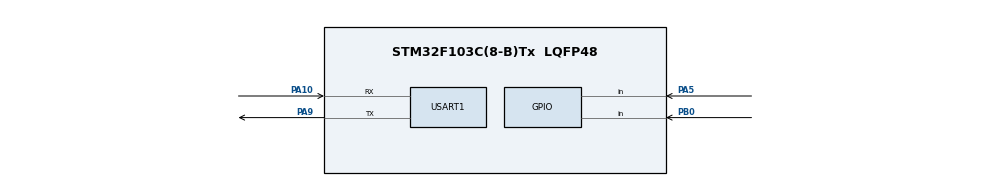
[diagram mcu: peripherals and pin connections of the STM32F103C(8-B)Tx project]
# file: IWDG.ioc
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IWDG.Prescaler=IWDG_PRESCALER_16
Mcu.Family=STM32F1
Mcu.Name=STM32F103C(8-B)Tx
Mcu.Package=LQFP48
NVIC.PriorityGroup=NVIC_PRIORITYGROUP_4
PA10.Mode=Asynchronous
PA10.Signal=USART1_RX
PA13.Mode=Serial_Wire
PA13.Signal=SYS_JTMS-SWDIO
PA14.Mode=Serial_Wire
PA14.Signal=SYS_JTCK-SWCLK
PA5.GPIO_Mode=GPIO_MODE_INPUT
PA5.GPIO_PuPd=GPIO_PULLUP
PA5.Signal=GPIO_Input
PA9.Mode=Asynchronous
PA9.Signal=USART1_TX
PB0.GPIO_Mode=GPIO_MODE_INPUT
PB0.GPIO_PuPd=GPIO_PULLUP
PB0.Signal=GPIO_Input
PD0-OSC_IN.Mode=HSE-External-Oscillator
PD0-OSC_IN.Signal=RCC_OSC_IN
PD1-OSC_OUT.Mode=HSE-External-Oscillator
PD1-OSC_OUT.Signal=RCC_OSC_OUT
ProjectManager.HeapSize=0x200
ProjectManager.StackSize=0x400
ProjectManager.TargetToolchain=MDK-ARM V5.27
RCC.AHBFreq_Value=16000000
RCC.APB1CLKDivider=RCC_HCLK_DIV2
RCC.APB1Freq_Value=8000000
RCC.APB1TimFreq_Value=16000000
RCC.APB2Freq_Value=16000000
RCC.APB2TimFreq_Value=16000000
RCC.HCLKFreq_Value=16000000
RCC.PLLSourceVirtual=RCC_PLLSOURCE_HSE
RCC.SYSCLKFreq_VALUE=16000000
RCC.SYSCLKSource=RCC_SYSCLKSOURCE_PLLCLK
RCC.USBFreq_Value=16000000
USART1.VirtualMode=VM_ASYNC
VP_IWDG_VS_IWDG.Mode=IWDG_Activate
board=custom

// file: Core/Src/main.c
/* USER CODE BEGIN Header */
/**
  ******************************************************************************
  * @file           : main.c
  * @brief          : Main program body
  ******************************************************************************
  * @attention
  *
  * <h2><center>&copy; Copyright (c) 2021 STMicroelectronics.
  * All rights reserved.</center></h2>
  *
  * This software component is licensed by ST under BSD 3-Clause license,
  * the "License"; You may not use this file except in compliance with the
  * License. You may obtain a copy of the License at:
  *                        opensource.org/licenses/BSD-3-Clause
  *
  ******************************************************************************
  */
/* USER CODE END Header */
#include "main.h"

/* USER CODE BEGIN Includes */
#include "stdio.h"
/* USER CODE END Includes */

void SystemClock_Config(void);
static void MX_GPIO_Init(void);
static void MX_IWDG_Init(void);
static void MX_USART1_UART_Init(void);

/* USER CODE BEGIN 0 */
/* this function prints the source of the previous reset */
void show_reset_sources (void)
	{

	if(LL_RCC_IsActiveFlag_SFTRST())
		printf("reset source was software reset\r\n");
	else if(LL_RCC_IsActiveFlag_LPWRRST())
		printf("reset source was Low Power reset\r\n");
	else if(LL_RCC_IsActiveFlag_PORRST())
		printf("reset source was POR\r\n");
	else if (LL_RCC_IsActiveFlag_WWDGRST())
		printf("reset source was WWDG or pin\r\n");
	else if (LL_RCC_IsActiveFlag_IWDGRST())
		printf("reset source was IWDG or pin\r\n");
	else if(LL_RCC_IsActiveFlag_PINRST())
		printf("reset source was reset pin\r\n");

	printf("Reset sources:\r\nPIN: %d\r\nIWDG: %d\r\nWWDG: %d\r\nSFT: %d\r\nLPW: %d\r\nPOR: %d\r\n",
	LL_RCC_IsActiveFlag_PINRST(), LL_RCC_IsActiveFlag_IWDGRST(), LL_RCC_IsActiveFlag_WWDGRST(),
	LL_RCC_IsActiveFlag_SFTRST(), LL_RCC_IsActiveFlag_LPWRRST(), LL_RCC_IsActiveFlag_PORRST() );
//	LL_mDelay(4000);
  }
/* USER CODE END 0 */

int main(void)
{

  /* MCU Configuration--------------------------------------------------------*/

  /* Reset of all peripherals, Initializes the Flash interface and the Systick. */

  LL_APB2_GRP1_EnableClock(LL_APB2_GRP1_PERIPH_AFIO);
  LL_APB1_GRP1_EnableClock(LL_APB1_GRP1_PERIPH_PWR);

  NVIC_SetPriorityGrouping(NVIC_PRIORITYGROUP_4);

  /* System interrupt init*/

  /** NOJTAG: JTAG-DP Disabled and SW-DP Enabled
  */
  LL_GPIO_AF_Remap_SWJ_NOJTAG();

  /* Configure the system clock */
  SystemClock_Config();

  /* Initialize all configured peripherals */
  MX_GPIO_Init();
  MX_IWDG_Init();
  MX_USART1_UART_Init();
  /* USER CODE BEGIN 2 */
	/* print the source of previous reset */
	show_reset_sources();
	LL_RCC_ClearResetFlags();

	int count = 0;

	LL_IWDG_ReloadCounter(IWDG);

	/* USER CODE END 2 */

  /* Infinite loop */
  while (1)
  {

    /* USER CODE BEGIN 3 */
		/* if PA5 is pressed, then IWDG counter will be reset */
		if (((LL_GPIO_ReadInputPort(GPIOA)) & (1<<5)) == 0)
		{
					LL_IWDG_ReloadCounter(IWDG);
					LL_mDelay(250);
					printf("IWDG counter reset\r\n");
					LL_IWDG_ReloadCounter(IWDG);
		}

		/* print the count value*/
					printf("count: %d\r\n", count++);
					LL_mDelay(250);

  }
  /* USER CODE END 3 */
}

void SystemClock_Config(void)
{
  LL_FLASH_SetLatency(LL_FLASH_LATENCY_0);
  while(LL_FLASH_GetLatency()!= LL_FLASH_LATENCY_0)
  {
  }
  LL_RCC_HSE_Enable();

   /* Wait till HSE is ready */
  while(LL_RCC_HSE_IsReady() != 1)
  {

  }
  LL_RCC_LSI_Enable();

   /* Wait till LSI is ready */
  while(LL_RCC_LSI_IsReady() != 1)
  {

  }
  LL_RCC_PLL_ConfigDomain_SYS(LL_RCC_PLLSOURCE_HSE_DIV_1, LL_RCC_PLL_MUL_2);
  LL_RCC_PLL_Enable();

   /* Wait till PLL is ready */
  while(LL_RCC_PLL_IsReady() != 1)
  {

  }
  LL_RCC_SetAHBPrescaler(LL_RCC_SYSCLK_DIV_1);
  LL_RCC_SetAPB1Prescaler(LL_RCC_APB1_DIV_2);
  LL_RCC_SetAPB2Prescaler(LL_RCC_APB2_DIV_1);
  LL_RCC_SetSysClkSource(LL_RCC_SYS_CLKSOURCE_PLL);

   /* Wait till System clock is ready */
  while(LL_RCC_GetSysClkSource() != LL_RCC_SYS_CLKSOURCE_STATUS_PLL)
  {

  }
  LL_Init1msTick(16000000);
  LL_SetSystemCoreClock(16000000);
}

static void MX_IWDG_Init(void)
{

  LL_IWDG_Enable(IWDG);
  LL_IWDG_EnableWriteAccess(IWDG);
  LL_IWDG_SetPrescaler(IWDG, LL_IWDG_PRESCALER_16);
  LL_IWDG_SetReloadCounter(IWDG, 4095);
  while (LL_IWDG_IsReady(IWDG) != 1)
  {
  }

  LL_IWDG_ReloadCounter(IWDG);
  /* USER CODE BEGIN IWDG_Init 2 */
//	LL_IWDG_DisableWriteAccess(IWDG);
  /* USER CODE END IWDG_Init 2 */

}

static void MX_USART1_UART_Init(void)
{

  LL_USART_InitTypeDef USART_InitStruct = {0};

  LL_GPIO_InitTypeDef GPIO_InitStruct = {0};

  /* Peripheral clock enable */
  LL_APB2_GRP1_EnableClock(LL_APB2_GRP1_PERIPH_USART1);

  LL_APB2_GRP1_EnableClock(LL_APB2_GRP1_PERIPH_GPIOA);
  /**USART1 GPIO Configuration
  PA9   ------> USART1_TX
  PA10   ------> USART1_RX
  */
  GPIO_InitStruct.Pin = LL_GPIO_PIN_9;
  GPIO_InitStruct.Mode = LL_GPIO_MODE_ALTERNATE;
  GPIO_InitStruct.Speed = LL_GPIO_SPEED_FREQ_HIGH;
  GPIO_InitStruct.OutputType = LL_GPIO_OUTPUT_PUSHPULL;
  LL_GPIO_Init(GPIOA, &GPIO_InitStruct);

  GPIO_InitStruct.Pin = LL_GPIO_PIN_10;
  GPIO_InitStruct.Mode = LL_GPIO_MODE_FLOATING;
  LL_GPIO_Init(GPIOA, &GPIO_InitStruct);

  USART_InitStruct.BaudRate = 115200;
  USART_InitStruct.DataWidth = LL_USART_DATAWIDTH_8B;
  USART_InitStruct.StopBits = LL_USART_STOPBITS_1;
  USART_InitStruct.Parity = LL_USART_PARITY_NONE;
  USART_InitStruct.TransferDirection = LL_USART_DIRECTION_TX_RX;
  USART_InitStruct.HardwareFlowControl = LL_USART_HWCONTROL_NONE;
  USART_InitStruct.OverSampling = LL_USART_OVERSAMPLING_16;
  LL_USART_Init(USART1, &USART_InitStruct);
  LL_USART_ConfigAsyncMode(USART1);
  LL_USART_Enable(USART1);

}

static void MX_GPIO_Init(void)
{
  LL_GPIO_InitTypeDef GPIO_InitStruct = {0};

  /* GPIO Ports Clock Enable */
  LL_APB2_GRP1_EnableClock(LL_APB2_GRP1_PERIPH_GPIOD);
  LL_APB2_GRP1_EnableClock(LL_APB2_GRP1_PERIPH_GPIOA);
  LL_APB2_GRP1_EnableClock(LL_APB2_GRP1_PERIPH_GPIOB);

  /**/
  GPIO_InitStruct.Pin = LL_GPIO_PIN_5;
  GPIO_InitStruct.Mode = LL_GPIO_MODE_INPUT;
  GPIO_InitStruct.Pull = LL_GPIO_PULL_UP;
  LL_GPIO_Init(GPIOA, &GPIO_InitStruct);

  /**/
  GPIO_InitStruct.Pin = LL_GPIO_PIN_0;
  GPIO_InitStruct.Mode = LL_GPIO_MODE_INPUT;
  GPIO_InitStruct.Pull = LL_GPIO_PULL_UP;
  LL_GPIO_Init(GPIOB, &GPIO_InitStruct);

}

void Error_Handler(void)
{
  __disable_irq();
  while (1)
  {
  }
}

/************************ (C) COPYRIGHT STMicroelectronics *****END OF FILE****/
